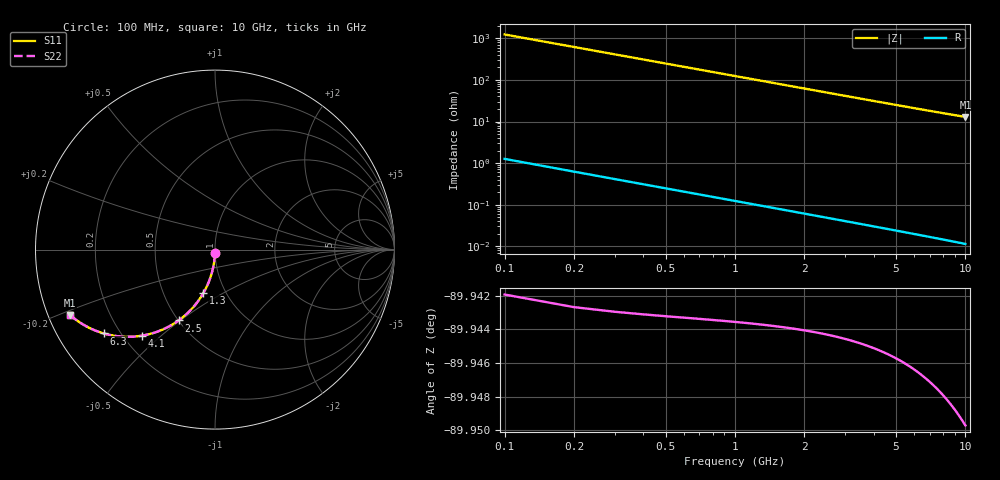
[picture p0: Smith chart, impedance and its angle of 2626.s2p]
# Hz S RI R 50.00
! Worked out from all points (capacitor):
!   100 points, 100 MHz to 10 GHz, reference 50 ohm
!   read as one part in shunt: C = 1.28 pF near 100 MHz
!   lowest |Z| = 12.9 ohm at 10 GHz (marker M1)
!   S11 on the Smith chart (normalised r, x): 100 MHz: 1.00, -0.04; 1.3 GHz: 0.79, -0.41; 2.5 GHz: 0.50, -0.49; 4.1 GHz: 0.27, -0.43; 6.3 GHz: 0.14, -0.33; 10 GHz: 0.06, -0.21
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1e8  -0.000377 -0.0198  0.9995 -0.0204  0.9995 -0.0204  -0.000377 -0.0198
2e8  -0.00161 -0.0396  0.9983 -0.0407  0.9983 -0.0407  -0.00161 -0.0396
3e8  -0.00364 -0.0593  0.9963 -0.0609  0.9963 -0.0609  -0.00364 -0.0593
4e8  -0.00646 -0.0788  0.9934 -0.081  0.9934 -0.081  -0.00646 -0.0788
5e8  -0.0101 -0.0982  0.9898 -0.1009  0.9898 -0.1009  -0.0101 -0.0982
6e8  -0.0144 -0.1173  0.9855 -0.1206  0.9855 -0.1206  -0.0144 -0.1173
8e8  -0.0253 -0.1547  0.9745 -0.159  0.9745 -0.159  -0.0253 -0.1547
1e9  -0.039 -0.1906  0.9608 -0.1961  0.9608 -0.1961  -0.039 -0.1906
1.3e9  -0.0642 -0.2412  0.9356 -0.2483  0.9356 -0.2483  -0.0642 -0.2412
1.5e9  -0.0837 -0.2725  0.9161 -0.2807  0.9161 -0.2807  -0.0837 -0.2725
1.8e9  -0.1163 -0.3153  0.8835 -0.3251  0.8835 -0.3251  -0.1163 -0.3153
2.1e9  -0.152 -0.3528  0.8478 -0.3644  0.8478 -0.3644  -0.152 -0.3528
2.5e9  -0.2027 -0.3947  0.7971 -0.4084  0.7971 -0.4084  -0.2027 -0.3947
2.9e9  -0.255 -0.4275  0.7447 -0.4434  0.7447 -0.4434  -0.255 -0.4275
3.4e9  -0.3202 -0.4567  0.6795 -0.4755  0.6795 -0.4755  -0.3202 -0.4567
4.1e9  -0.407 -0.4794  0.5926 -0.5022  0.5926 -0.5022  -0.407 -0.4794
5.1e9  -0.5159 -0.485  0.4836 -0.5135  0.4836 -0.5135  -0.5159 -0.485
6.3e9  -0.6203 -0.4669  0.3789 -0.5025  0.3789 -0.5025  -0.6203 -0.4669
6.7e9  -0.6492 -0.4576  0.3499 -0.4955  0.3499 -0.4955  -0.6492 -0.4576
7.5e9  -0.6995 -0.4364  0.2995 -0.4791  0.2995 -0.4791  -0.6995 -0.4364
8.4e9  -0.7457 -0.4105  0.2531 -0.4587  0.2531 -0.4587  -0.7457 -0.4105
1e10  -0.8073 -0.3642  0.1909 -0.4222  0.1909 -0.4222  -0.8073 -0.3642
